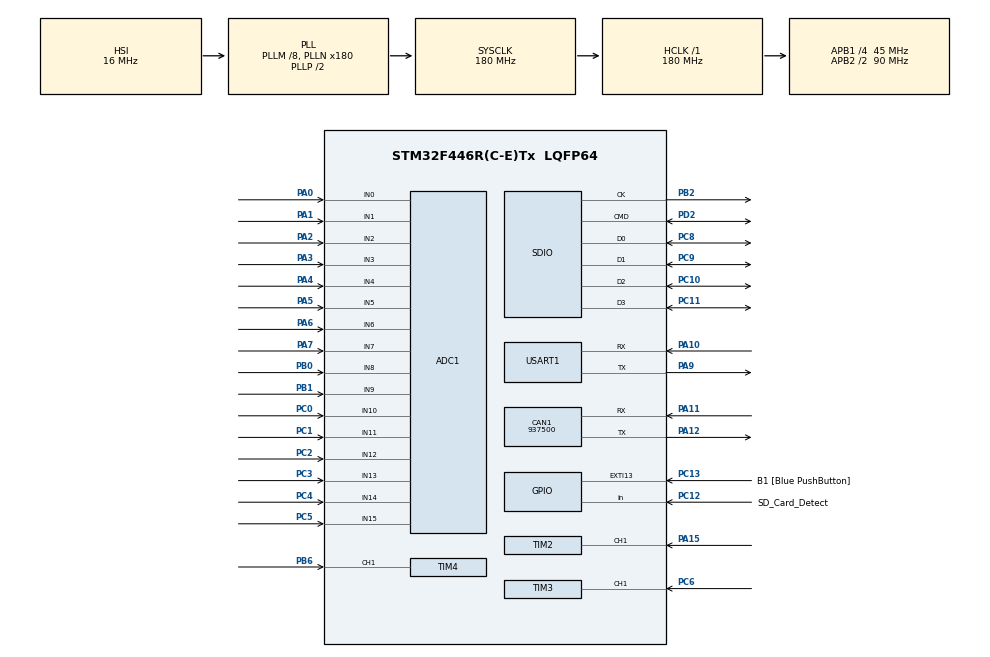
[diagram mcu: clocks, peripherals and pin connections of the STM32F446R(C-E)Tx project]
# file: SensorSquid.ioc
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ADC1.Channel-0\#ChannelRegularConversion=ADC_CHANNEL_0
ADC1.Channel-1\#ChannelRegularConversion=ADC_CHANNEL_1
ADC1.Channel-10\#ChannelRegularConversion=ADC_CHANNEL_10
ADC1.Channel-11\#ChannelRegularConversion=ADC_CHANNEL_11
ADC1.Channel-12\#ChannelRegularConversion=ADC_CHANNEL_12
ADC1.Channel-13\#ChannelRegularConversion=ADC_CHANNEL_13
ADC1.Channel-14\#ChannelRegularConversion=ADC_CHANNEL_14
ADC1.Channel-15\#ChannelRegularConversion=ADC_CHANNEL_15
ADC1.Channel-2\#ChannelRegularConversion=ADC_CHANNEL_2
ADC1.Channel-3\#ChannelRegularConversion=ADC_CHANNEL_3
ADC1.Channel-4\#ChannelRegularConversion=ADC_CHANNEL_4
ADC1.Channel-5\#ChannelRegularConversion=ADC_CHANNEL_5
ADC1.Channel-6\#ChannelRegularConversion=ADC_CHANNEL_6
ADC1.Channel-7\#ChannelRegularConversion=ADC_CHANNEL_7
ADC1.Channel-8\#ChannelRegularConversion=ADC_CHANNEL_8
ADC1.Channel-9\#ChannelRegularConversion=ADC_CHANNEL_9
ADC1.ContinuousConvMode=ENABLE
ADC1.DMAContinuousRequests=ENABLE
ADC1.EOCSelection=ADC_EOC_SEQ_CONV
ADC1.NbrOfConversion=16
ADC1.NbrOfConversionFlag=1
ADC1.Rank-0\#ChannelRegularConversion=1
ADC1.Rank-1\#ChannelRegularConversion=2
ADC1.Rank-10\#ChannelRegularConversion=11
ADC1.Rank-11\#ChannelRegularConversion=12
ADC1.Rank-12\#ChannelRegularConversion=13
ADC1.Rank-13\#ChannelRegularConversion=14
ADC1.Rank-14\#ChannelRegularConversion=15
ADC1.Rank-15\#ChannelRegularConversion=16
ADC1.Rank-2\#ChannelRegularConversion=3
ADC1.Rank-3\#ChannelRegularConversion=4
ADC1.Rank-4\#ChannelRegularConversion=5
ADC1.Rank-5\#ChannelRegularConversion=6
ADC1.Rank-6\#ChannelRegularConversion=7
ADC1.Rank-7\#ChannelRegularConversion=8
ADC1.Rank-8\#ChannelRegularConversion=9
ADC1.Rank-9\#ChannelRegularConversion=10
ADC1.SamplingTime-0\#ChannelRegularConversion=ADC_SAMPLETIME_3CYCLES
ADC1.SamplingTime-1\#ChannelRegularConversion=ADC_SAMPLETIME_3CYCLES
ADC1.SamplingTime-10\#ChannelRegularConversion=ADC_SAMPLETIME_3CYCLES
ADC1.SamplingTime-11\#ChannelRegularConversion=ADC_SAMPLETIME_3CYCLES
ADC1.SamplingTime-12\#ChannelRegularConversion=ADC_SAMPLETIME_3CYCLES
ADC1.SamplingTime-13\#ChannelRegularConversion=ADC_SAMPLETIME_3CYCLES
ADC1.SamplingTime-14\#ChannelRegularConversion=ADC_SAMPLETIME_3CYCLES
ADC1.SamplingTime-15\#ChannelRegularConversion=ADC_SAMPLETIME_3CYCLES
ADC1.SamplingTime-2\#ChannelRegularConversion=ADC_SAMPLETIME_3CYCLES
ADC1.SamplingTime-3\#ChannelRegularConversion=ADC_SAMPLETIME_3CYCLES
ADC1.SamplingTime-4\#ChannelRegularConversion=ADC_SAMPLETIME_3CYCLES
ADC1.SamplingTime-5\#ChannelRegularConversion=ADC_SAMPLETIME_3CYCLES
ADC1.SamplingTime-6\#ChannelRegularConversion=ADC_SAMPLETIME_3CYCLES
ADC1.SamplingTime-7\#ChannelRegularConversion=ADC_SAMPLETIME_3CYCLES
ADC1.SamplingTime-8\#ChannelRegularConversion=ADC_SAMPLETIME_3CYCLES
ADC1.SamplingTime-9\#ChannelRegularConversion=ADC_SAMPLETIME_3CYCLES
ADC1.ScanConvMode=ENABLE
ADC1.master=1
CAN1.CalculateBaudRate=937500
CAN1.CalculateTimeBit=1066
CAN1.CalculateTimeQuantum=355.55555555555554
Dma.ADC1.0.Direction=DMA_PERIPH_TO_MEMORY
Dma.ADC1.0.FIFOMode=DMA_FIFOMODE_DISABLE
Dma.ADC1.0.Instance=DMA2_Stream0
Dma.ADC1.0.MemDataAlignment=DMA_MDATAALIGN_WORD
Dma.ADC1.0.MemInc=DMA_MINC_ENABLE
Dma.ADC1.0.Mode=DMA_CIRCULAR
Dma.ADC1.0.PeriphDataAlignment=DMA_PDATAALIGN_WORD
Dma.ADC1.0.PeriphInc=DMA_PINC_DISABLE
Dma.ADC1.0.Priority=DMA_PRIORITY_LOW
Dma.Request0=ADC1
Dma.Request1=SDIO_TX
Dma.Request2=SDIO_RX
Dma.SDIO_RX.2.Direction=DMA_PERIPH_TO_MEMORY
Dma.SDIO_RX.2.FIFOMode=DMA_FIFOMODE_ENABLE
Dma.SDIO_RX.2.FIFOThreshold=DMA_FIFO_THRESHOLD_FULL
Dma.SDIO_RX.2.Instance=DMA2_Stream6
Dma.SDIO_RX.2.MemBurst=DMA_MBURST_INC4
Dma.SDIO_RX.2.MemDataAlignment=DMA_MDATAALIGN_WORD
Dma.SDIO_RX.2.MemInc=DMA_MINC_ENABLE
Dma.SDIO_RX.2.Mode=DMA_PFCTRL
Dma.SDIO_RX.2.PeriphBurst=DMA_PBURST_INC4
Dma.SDIO_RX.2.PeriphDataAlignment=DMA_PDATAALIGN_WORD
Dma.SDIO_RX.2.PeriphInc=DMA_PINC_DISABLE
Dma.SDIO_RX.2.Priority=DMA_PRIORITY_LOW
Dma.SDIO_TX.1.Direction=DMA_MEMORY_TO_PERIPH
Dma.SDIO_TX.1.FIFOMode=DMA_FIFOMODE_ENABLE
Dma.SDIO_TX.1.FIFOThreshold=DMA_FIFO_THRESHOLD_FULL
Dma.SDIO_TX.1.Instance=DMA2_Stream3
Dma.SDIO_TX.1.MemBurst=DMA_MBURST_INC4
Dma.SDIO_TX.1.MemDataAlignment=DMA_MDATAALIGN_WORD
Dma.SDIO_TX.1.MemInc=DMA_MINC_ENABLE
Dma.SDIO_TX.1.Mode=DMA_PFCTRL
Dma.SDIO_TX.1.PeriphBurst=DMA_PBURST_INC4
Dma.SDIO_TX.1.PeriphDataAlignment=DMA_PDATAALIGN_WORD
Dma.SDIO_TX.1.PeriphInc=DMA_PINC_DISABLE
Dma.SDIO_TX.1.Priority=DMA_PRIORITY_LOW
FATFS.BSP.number=1
FATFS._FS_RPATH=1
FATFS._LFN_UNICODE=0
FATFS._USE_FIND=1
FATFS._USE_LFN=2
FATFS0.BSP.STBoard=false
FATFS0.BSP.api=Unknown
FATFS0.BSP.instance=PC12
FATFS0.BSP.ip=GPIO
FATFS0.BSP.mode=Input
FATFS0.BSP.name=Detect_SDIO
FATFS0.BSP.solution=PC12
FREERTOS.Tasks01=defaultTask,0,128,StartDefaultTask,Default,NULL
FREERTOS.configGENERATE_RUN_TIME_STATS=1
FREERTOS.configUSE_NEWLIB_REENTRANT=1
Mcu.Family=STM32F4
Mcu.Name=STM32F446R(C-E)Tx
Mcu.Package=LQFP64
NVIC.DMA2_Stream0_IRQn=true\:5\:0\:false\:false\:true\:true\:false\:true\:true
NVIC.DMA2_Stream3_IRQn=true\:5\:0\:false\:false\:true\:true\:false\:true\:true
NVIC.DMA2_Stream6_IRQn=true\:5\:0\:false\:false\:true\:true\:false\:true\:true
NVIC.PriorityGroup=NVIC_PRIORITYGROUP_4
NVIC.SDIO_IRQn=true\:5\:0\:false\:false\:true\:true\:true\:true\:true
NVIC.TIM1_UP_TIM10_IRQn=true\:5\:0\:false\:false\:true\:false\:false\:true\:true
NVIC.TIM2_IRQn=true\:5\:0\:false\:false\:true\:true\:true\:true\:true
NVIC.TIM3_IRQn=true\:5\:0\:false\:false\:true\:true\:true\:true\:true
NVIC.TIM4_IRQn=true\:5\:0\:false\:false\:true\:true\:true\:true\:true
NVIC.TimeBase=TIM1_UP_TIM10_IRQn
NVIC.TimeBaseIP=TIM10
PA0-WKUP.Signal=ADCx_IN0
PA1.Signal=ADCx_IN1
PA10.Mode=Asynchronous
PA10.Signal=USART1_RX
PA11.Mode=CAN_Activate
PA11.Signal=CAN1_RX
PA12.Mode=CAN_Activate
PA12.Signal=CAN1_TX
PA15.Signal=S_TIM2_CH1_ETR
PA2.Signal=ADCx_IN2
PA3.Signal=ADCx_IN3
PA4.Signal=ADCx_IN4
PA5.Signal=ADCx_IN5
PA6.Signal=ADCx_IN6
PA7.Signal=ADCx_IN7
PA9.Mode=Asynchronous
PA9.Signal=USART1_TX
PB0.Signal=ADCx_IN8
PB1.Signal=ADCx_IN9
PB2.Mode=SD_4_bits_Wide_bus
PB2.Signal=SDIO_CK
PB6.Signal=S_TIM4_CH1
PC0.Signal=ADCx_IN10
PC1.Signal=ADCx_IN11
PC10.Mode=SD_4_bits_Wide_bus
PC10.Signal=SDIO_D2
PC11.Mode=SD_4_bits_Wide_bus
PC11.Signal=SDIO_D3
PC12.GPIO_Label=SD_Card_Detect
PC12.Signal=GPIO_Input
PC13.GPIO_Label=B1 [Blue PushButton]
PC13.GPIO_ModeDefaultEXTI=GPIO_MODE_IT_FALLING
PC13.Signal=GPXTI13
PC2.Signal=ADCx_IN12
PC3.Signal=ADCx_IN13
PC4.Signal=ADCx_IN14
PC5.Signal=ADCx_IN15
PC6.Signal=S_TIM3_CH1
PC8.Mode=SD_4_bits_Wide_bus
PC8.Signal=SDIO_D0
PC9.Mode=SD_4_bits_Wide_bus
PC9.Signal=SDIO_D1
PD2.Mode=SD_4_bits_Wide_bus
PD2.Signal=SDIO_CMD
ProjectManager.HeapSize=0x200
ProjectManager.StackSize=0x400
ProjectManager.TargetToolchain=STM32CubeIDE
RCC.48MHZClocksFreq_Value=84000000
RCC.AHBFreq_Value=180000000
RCC.APB1CLKDivider=RCC_HCLK_DIV4
RCC.APB1Freq_Value=45000000
RCC.APB1TimFreq_Value=90000000
RCC.APB2CLKDivider=RCC_HCLK_DIV2
RCC.APB2Freq_Value=90000000
RCC.APB2TimFreq_Value=180000000
RCC.CortexFreq_Value=180000000
RCC.FLatency-AdvancedSettings=FLASH_LATENCY_5
RCC.HCLKFreq_Value=180000000
RCC.HSE_VALUE=8000000
RCC.HSI_VALUE=16000000
RCC.PLLM=8
RCC.PLLN=180
RCC.PLLQ=8
RCC.SYSCLKFreq_VALUE=180000000
RCC.SYSCLKSource=RCC_SYSCLKSOURCE_PLLCLK
RCC.USBFreq_Value=45000000
RCC.VCOOutputFreq_Value=360000000
RTC.Date=7
RTC.Hours=12
RTC.Month=RTC_MONTH_AUGUST
RTC.WeekDay=RTC_WEEKDAY_SUNDAY
SH.ADCx_IN0.0=ADC1_IN0,IN0
SH.ADCx_IN1.0=ADC1_IN1,IN1
SH.ADCx_IN10.0=ADC1_IN10,IN10
SH.ADCx_IN11.0=ADC1_IN11,IN11
SH.ADCx_IN12.0=ADC1_IN12,IN12
SH.ADCx_IN13.0=ADC1_IN13,IN13
SH.ADCx_IN14.0=ADC1_IN14,IN14
SH.ADCx_IN15.0=ADC1_IN15,IN15
SH.ADCx_IN2.0=ADC1_IN2,IN2
SH.ADCx_IN3.0=ADC1_IN3,IN3
SH.ADCx_IN4.0=ADC1_IN4,IN4
SH.ADCx_IN5.0=ADC1_IN5,IN5
SH.ADCx_IN6.0=ADC1_IN6,IN6
SH.ADCx_IN7.0=ADC1_IN7,IN7
SH.ADCx_IN8.0=ADC1_IN8,IN8
SH.ADCx_IN9.0=ADC1_IN9,IN9
SH.S_TIM2_CH1_ETR.0=TIM2_CH1,Input_Capture1_from_TI1
SH.S_TIM3_CH1.0=TIM3_CH1,Input_Capture1_from_TI1
SH.S_TIM4_CH1.0=TIM4_CH1,Input_Capture1_from_TI1
TIM1.AutoReloadPreload=TIM_AUTORELOAD_PRELOAD_ENABLE
TIM1.Prescaler=1500
TIM2.AutoReloadPreload=TIM_AUTORELOAD_PRELOAD_ENABLE
TIM2.Channel-Input_Capture1_from_TI1=TIM_CHANNEL_1
TIM2.Period=65535
TIM2.Prescaler=55
TIM3.Channel-Input_Capture1_from_TI1=TIM_CHANNEL_1
TIM3.Prescaler=55
TIM4.Channel-Input_Capture1_from_TI1=TIM_CHANNEL_1
USART1.VirtualMode=VM_ASYNC
VP_FATFS_VS_SDIO.Mode=SDIO
VP_FREERTOS_VS_CMSIS_V1.Mode=CMSIS_V1
VP_RTC_VS_RTC_Activate.Mode=RTC_Enabled
VP_RTC_VS_RTC_Calendar.Mode=RTC_Calendar
VP_SYS_VS_tim10.Mode=TIM10
VP_TIM1_VS_ClockSourceINT.Mode=Internal
VP_TIM2_VS_ClockSourceINT.Mode=Internal
VP_TIM3_VS_ClockSourceINT.Mode=Internal
board=NUCLEO-F446RE

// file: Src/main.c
/* USER CODE BEGIN Header */
/**
  ******************************************************************************
  * @file           : main.c
  * @brief          : Main program body
  ******************************************************************************
  * This notice applies to any and all portions of this file
  * that are not between comment pairs USER CODE BEGIN and
  * USER CODE END. Other portions of this file, whether
  * inserted by the user or by software development tools
  * are owned by their respective copyright owners.
  *
  * Copyright (c) 2022 STMicroelectronics International N.V.
  * All rights reserved.
  *
  * Redistribution and use in source and binary forms, with or without
  * modification, are permitted, provided that the following conditions are met:
  *
  * 1. Redistribution of source code must retain the above copyright notice,
  *    this list of conditions and the following disclaimer.
  * 2. Redistributions in binary form must reproduce the above copyright notice,
  *    this list of conditions and the following disclaimer in the documentation
  *    and/or other materials provided with the distribution.
  * 3. Neither the name of STMicroelectronics nor the names of other
  *    contributors to this software may be used to endorse or promote products
  *    derived from this software without specific written permission.
  * 4. This software, including modifications and/or derivative works of this
  *    software, must execute solely and exclusively on microcontroller or
  *    microprocessor devices manufactured by or for STMicroelectronics.
  * 5. Redistribution and use of this software other than as permitted under
  *    this license is void and will automatically terminate your rights under
  *    this license.
  *
  * THIS SOFTWARE IS PROVIDED BY STMICROELECTRONICS AND CONTRIBUTORS "AS IS"
  * AND ANY EXPRESS, IMPLIED OR STATUTORY WARRANTIES, INCLUDING, BUT NOT
  * LIMITED TO, THE IMPLIED WARRANTIES OF MERCHANTABILITY, FITNESS FOR A
  * PARTICULAR PURPOSE AND NON-INFRINGEMENT OF THIRD PARTY INTELLECTUAL PROPERTY
  * RIGHTS ARE DISCLAIMED TO THE FULLEST EXTENT PERMITTED BY LAW. IN NO EVENT
  * SHALL STMICROELECTRONICS OR CONTRIBUTORS BE LIABLE FOR ANY DIRECT, INDIRECT,
  * INCIDENTAL, SPECIAL, EXEMPLARY, OR CONSEQUENTIAL DAMAGES (INCLUDING, BUT NOT
  * LIMITED TO, PROCUREMENT OF SUBSTITUTE GOODS OR SERVICES; LOSS OF USE, DATA,
  * OR PROFITS; OR BUSINESS INTERRUPTION) HOWEVER CAUSED AND ON ANY THEORY OF
  * LIABILITY, WHETHER IN CONTRACT, STRICT LIABILITY, OR TORT (INCLUDING
  * NEGLIGENCE OR OTHERWISE) ARISING IN ANY WAY OUT OF THE USE OF THIS SOFTWARE,
  * EVEN IF ADVISED OF THE POSSIBILITY OF SUCH DAMAGE.
  *
  ******************************************************************************
  */
/* USER CODE END Header */
#include "main.h"
#include "cmsis_os.h"
#include "adc.h"
#include "can.h"
#include "dma.h"
#include "fatfs.h"
#include "rtc.h"
#include "sdio.h"
#include "tim.h"
#include "usart.h"
#include "gpio.h"
#include "sd_card.h"
#include "wheel_speed.h"
#include "timestamps.h"
#include "IMU_CAN.h"
#include "thermistor.h"

/* USER CODE BEGIN Includes */

//#include "sd_card.h"
//#include "timestamps.h"
//#include "wheel_speed.h"
/* USER CODE END Includes */

void SystemClock_Config(void);
void MX_FREERTOS_Init(void);

int main(void)
{

  /* MCU Configuration--------------------------------------------------------*/

  /* Reset of all peripherals, Initializes the Flash interface and the Systick. */
  HAL_Init();

  /* Configure the system clock */
  SystemClock_Config();

  /* Initialize all configured peripherals */
  MX_GPIO_Init();
  MX_DMA_Init();
  MX_ADC1_Init();
  MX_USART1_UART_Init();
  MX_CAN1_Init();
  MX_SDIO_SD_Init();
  MX_FATFS_Init();
  MX_RTC_Init();
  MX_TIM1_Init();
  MX_TIM2_Init();
  MX_TIM3_Init();
  MX_TIM4_Init();
  /* USER CODE BEGIN 2 */
  Init_SD_Card();
  HAL_TIM_Base_Start_IT(&htim1);
  HAL_TIM_Base_Start_IT(&htim2);
  HAL_TIM_Base_Start_IT(&htim3);

  HAL_TIM_IC_Start_IT(&htim2, TIM_CHANNEL_1); 		// Start input capture
  HAL_TIM_IC_Start_IT(&htim3, TIM_CHANNEL_1); 		// Start input capture
/* USER CODE END 2 */
  /* Call init function for freertos objects (in freertos.c) */
  MX_FREERTOS_Init();
//  Init_SD_RTOS_Tasks();
//  Init_WheelSpeed_Logging_Task();					// Start the wheelspeed logging task
//  init_hcan1_rx_task();								// Start Can rx task
//  init_imu_post_task();								// Start Imu Post Task
  init_readTemp_task();								// Start reading the temperatures from the thermistors

  /* USER CODE END 2 */

  /* Call init function for freertos objects (in freertos.c) */
//  MX_FREERTOS_Init();

  /* Start scheduler */
  osKernelStart();

  /* We should never get here as control is now taken by the scheduler */
  /* Infinite loop */
  while (1)
  {

  }
}

void SystemClock_Config(void)
{
  RCC_OscInitTypeDef RCC_OscInitStruct = {0};
  RCC_ClkInitTypeDef RCC_ClkInitStruct = {0};

  /** Configure the main internal regulator output voltage
  */
  __HAL_RCC_PWR_CLK_ENABLE();
  __HAL_PWR_VOLTAGESCALING_CONFIG(PWR_REGULATOR_VOLTAGE_SCALE1);

  /** Initializes the RCC Oscillators according to the specified parameters
  * in the RCC_OscInitTypeDef structure.
  */
  RCC_OscInitStruct.OscillatorType = RCC_OSCILLATORTYPE_HSI|RCC_OSCILLATORTYPE_LSI;
  RCC_OscInitStruct.LSEState = RCC_LSE_OFF;
  RCC_OscInitStruct.HSIState = RCC_HSI_ON;
  RCC_OscInitStruct.HSICalibrationValue = RCC_HSICALIBRATION_DEFAULT;
  RCC_OscInitStruct.LSIState = RCC_LSI_ON;
  RCC_OscInitStruct.PLL.PLLState = RCC_PLL_ON;
  RCC_OscInitStruct.PLL.PLLSource = RCC_PLLSOURCE_HSI;
  RCC_OscInitStruct.PLL.PLLM = 8;
  RCC_OscInitStruct.PLL.PLLN = 180;
  RCC_OscInitStruct.PLL.PLLP = RCC_PLLP_DIV2;
  RCC_OscInitStruct.PLL.PLLQ = 8;
  RCC_OscInitStruct.PLL.PLLR = 2;
  if (HAL_RCC_OscConfig(&RCC_OscInitStruct) != HAL_OK)
  {
    Error_Handler();
  }

  /** Activate the Over-Drive mode
  */
  if (HAL_PWREx_EnableOverDrive() != HAL_OK)
  {
    Error_Handler();
  }

  /** Initializes the CPU, AHB and APB buses clocks
  */
  RCC_ClkInitStruct.ClockType = RCC_CLOCKTYPE_HCLK|RCC_CLOCKTYPE_SYSCLK
                              |RCC_CLOCKTYPE_PCLK1|RCC_CLOCKTYPE_PCLK2;
  RCC_ClkInitStruct.SYSCLKSource = RCC_SYSCLKSOURCE_PLLCLK;
  RCC_ClkInitStruct.AHBCLKDivider = RCC_SYSCLK_DIV1;
  RCC_ClkInitStruct.APB1CLKDivider = RCC_HCLK_DIV4;
  RCC_ClkInitStruct.APB2CLKDivider = RCC_HCLK_DIV2;

  if (HAL_RCC_ClockConfig(&RCC_ClkInitStruct, FLASH_LATENCY_5) != HAL_OK)
  {
    Error_Handler();
  }
}

void HAL_TIM_PeriodElapsedCallback(TIM_HandleTypeDef *htim)
{
  if (htim->Instance == TIM10) {
    HAL_IncTick();
  }
  /* USER CODE BEGIN Callback 1 */
  if(htim->Instance == TIM1)
	  HAL_TimestampUpdate_Callback(htim);	//update the timestamp

  if(htim->Instance == TIM2)
	  HAL_FR_Wheelspeed_Overflow_Callback();		// update the wheelspeed overfow when that happens

  if(htim->Instance == TIM3)
	  HAL_FL_Wheelspeed_Overflow_Callback();		// update the wheelspeed overfow when that happens

  /* USER CODE END Callback 1 */
}

void Error_Handler(void)
{
}

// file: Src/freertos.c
/* USER CODE BEGIN Header */
/**
  ******************************************************************************
  * File Name          : freertos.c
  * Description        : Code for freertos applications
  ******************************************************************************
  * This notice applies to any and all portions of this file
  * that are not between comment pairs USER CODE BEGIN and
  * USER CODE END. Other portions of this file, whether
  * inserted by the user or by software development tools
  * are owned by their respective copyright owners.
  *
  * Copyright (c) 2022 STMicroelectronics International N.V.
  * All rights reserved.
  *
  * Redistribution and use in source and binary forms, with or without
  * modification, are permitted, provided that the following conditions are met:
  *
  * 1. Redistribution of source code must retain the above copyright notice,
  *    this list of conditions and the following disclaimer.
  * 2. Redistributions in binary form must reproduce the above copyright notice,
  *    this list of conditions and the following disclaimer in the documentation
  *    and/or other materials provided with the distribution.
  * 3. Neither the name of STMicroelectronics nor the names of other
  *    contributors to this software may be used to endorse or promote products
  *    derived from this software without specific written permission.
  * 4. This software, including modifications and/or derivative works of this
  *    software, must execute solely and exclusively on microcontroller or
  *    microprocessor devices manufactured by or for STMicroelectronics.
  * 5. Redistribution and use of this software other than as permitted under
  *    this license is void and will automatically terminate your rights under
  *    this license.
  *
  * THIS SOFTWARE IS PROVIDED BY STMICROELECTRONICS AND CONTRIBUTORS "AS IS"
  * AND ANY EXPRESS, IMPLIED OR STATUTORY WARRANTIES, INCLUDING, BUT NOT
  * LIMITED TO, THE IMPLIED WARRANTIES OF MERCHANTABILITY, FITNESS FOR A
  * PARTICULAR PURPOSE AND NON-INFRINGEMENT OF THIRD PARTY INTELLECTUAL PROPERTY
  * RIGHTS ARE DISCLAIMED TO THE FULLEST EXTENT PERMITTED BY LAW. IN NO EVENT
  * SHALL STMICROELECTRONICS OR CONTRIBUTORS BE LIABLE FOR ANY DIRECT, INDIRECT,
  * INCIDENTAL, SPECIAL, EXEMPLARY, OR CONSEQUENTIAL DAMAGES (INCLUDING, BUT NOT
  * LIMITED TO, PROCUREMENT OF SUBSTITUTE GOODS OR SERVICES; LOSS OF USE, DATA,
  * OR PROFITS; OR BUSINESS INTERRUPTION) HOWEVER CAUSED AND ON ANY THEORY OF
  * LIABILITY, WHETHER IN CONTRACT, STRICT LIABILITY, OR TORT (INCLUDING
  * NEGLIGENCE OR OTHERWISE) ARISING IN ANY WAY OUT OF THE USE OF THIS SOFTWARE,
  * EVEN IF ADVISED OF THE POSSIBILITY OF SUCH DAMAGE.
  *
  ******************************************************************************
  */
/* USER CODE END Header */

#include "FreeRTOS.h"
#include "task.h"
#include "main.h"
#include "cmsis_os.h"

/* USER CODE BEGIN Includes */
#include "thermistor.h"
#include "can.h"

/* USER CODE END Includes */

/* USER CODE BEGIN Variables */
osThreadId readTempTaskHandle;
osThreadId canTaskHandle;

/* USER CODE END Variables */
osThreadId defaultTaskHandle;

void StartDefaultTask(void const * argument);

void MX_FREERTOS_Init(void); /* (MISRA C 2004 rule 8.1) */

/* GetIdleTaskMemory prototype (linked to static allocation support) */
void vApplicationGetIdleTaskMemory( StaticTask_t **ppxIdleTaskTCBBuffer, StackType_t **ppxIdleTaskStackBuffer, uint32_t *pulIdleTaskStackSize );

/* Hook prototypes */
void configureTimerForRunTimeStats(void);
unsigned long getRunTimeCounterValue(void);

/* USER CODE BEGIN 1 */
/* Functions needed when configGENERATE_RUN_TIME_STATS is on */
__weak void configureTimerForRunTimeStats(void)
{

}

__weak unsigned long getRunTimeCounterValue(void)
{
return 0;
}
/* USER CODE END 1 */

/* USER CODE BEGIN GET_IDLE_TASK_MEMORY */
static StaticTask_t xIdleTaskTCBBuffer;
static StackType_t xIdleStack[configMINIMAL_STACK_SIZE];

void vApplicationGetIdleTaskMemory( StaticTask_t **ppxIdleTaskTCBBuffer, StackType_t **ppxIdleTaskStackBuffer, uint32_t *pulIdleTaskStackSize )
{
  *ppxIdleTaskTCBBuffer = &xIdleTaskTCBBuffer;
  *ppxIdleTaskStackBuffer = &xIdleStack[0];
  *pulIdleTaskStackSize = configMINIMAL_STACK_SIZE;
  /* place for user code */
}
/* USER CODE END GET_IDLE_TASK_MEMORY */

void MX_FREERTOS_Init(void) {

  /* Create the thread(s) */
  /* definition and creation of defaultTask */
  osThreadDef(defaultTask, StartDefaultTask, osPriorityNormal, 0, 128);
  defaultTaskHandle = osThreadCreate(osThread(defaultTask), NULL);

  /* definition and creation of readTempTask */
  osThreadDef(readTempTask, StartReadTempTask, osPriorityNormal, 0, 128);
  readTempTaskHandle = osThreadCreate(osThread(readTempTask), NULL);

  //imu

  //can
  osThreadDef(canTask, StartCanTask, osPriorityNormal, 0, 128);
  canTaskHandle = osThreadCreate(osThread(canTask), NULL);

  // shock pots

  // flow meters

}

void StartDefaultTask(void const * argument)
{
  for(;;)
  {
    osDelay(1);
  }
}
